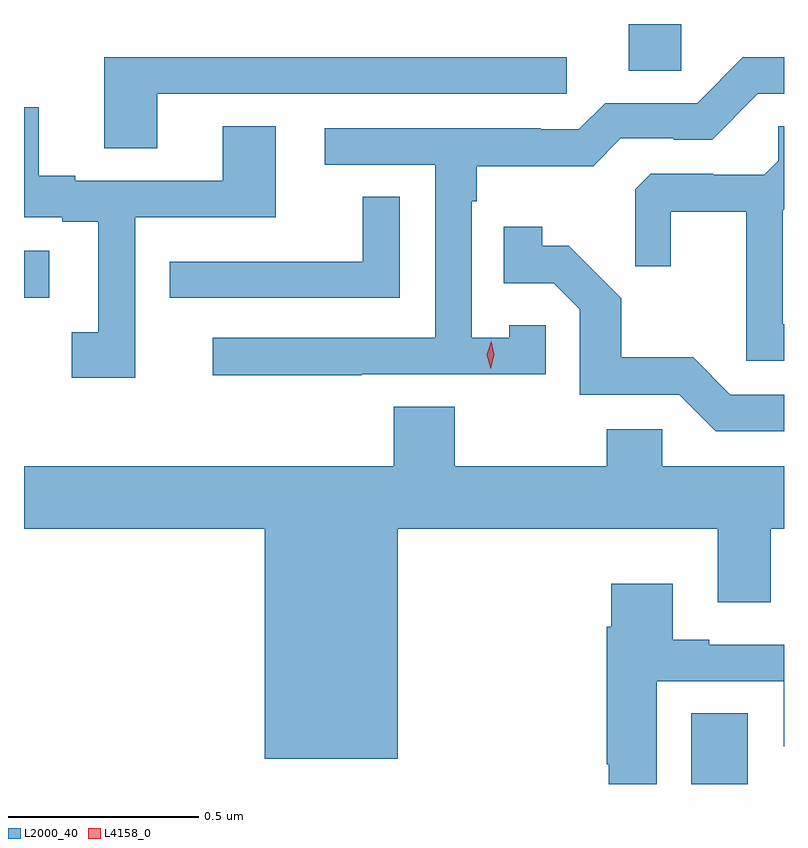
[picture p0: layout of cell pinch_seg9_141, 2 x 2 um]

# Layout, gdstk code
import gdstk
lib = gdstk.Library(unit=1e-6, precision=1e-09)
def R(c, l, rs):  # rectangles x0, y0, x1, y1
    for r in rs: c.add(gdstk.rectangle(r[:2], r[2:], *l))
def P(c, l, *ps):  # polygons
    for p in ps: c.add(gdstk.Polygon(p, *l))
L2000_40 = (2000, 40)
L4158_0 = (4158, 0)

pinch_seg9_141 = lib.new_cell('pinch_seg9_141')
R(pinch_seg9_141, L2000_40, [(677.96,1242.368,678.109,1242.554), (676.204,1243.647,676.27,1243.771), (677.795,1244.245,677.934,1244.368)])
P(pinch_seg9_141, L2000_40, [(676.555,1244.184),(677.632,1244.184),(677.632,1244.28),(676.415,1244.28),(676.415,1244.041),(676.555,1244.041)],
  [(677.093,1243.446),(677.577,1243.446),(677.577,1243.575),(677.481,1243.575),(677.481,1243.543),(677.382,1243.543),(677.382,1243.901),(677.395,1243.901),(677.395,1243.994),(677.702,1243.994),(677.775,1244.067),(677.914,1244.067),(677.914,1244.064),(678.015,1244.064),(678.135,1244.184),(678.204,1244.184),(678.204,1244.28),(678.096,1244.28),(677.976,1244.16),(677.733,1244.16),(677.664,1244.091),(677.564,1244.091),(677.564,1244.094),(676.995,1244.094),(676.995,1243.998),(677.286,1243.998),(677.286,1243.542),(676.701,1243.542),(676.701,1243.444),(677.093,1243.444)],
  [(676.497,1243.86),(676.867,1243.86),(676.867,1244.099),(676.727,1244.099),(676.727,1243.956),(676.339,1243.956),(676.339,1243.969),(676.243,1243.969),(676.243,1244.149),(676.204,1244.149),(676.204,1243.86),(676.304,1243.86),(676.304,1243.848),(676.4,1243.848),(676.4,1243.557),(676.329,1243.557),(676.329,1243.437),(676.497,1243.437)],
  [(678.204,1243.578),(678.201,1243.578),(678.201,1243.877),(678.204,1243.88),(678.204,1244.099),(678.189,1244.099),(678.189,1244.008),(678.152,1243.971),(678.018,1243.971),(678.018,1243.974),(677.853,1243.974),(677.812,1243.933),(677.812,1243.731),(677.906,1243.731),(677.906,1243.874),(678.104,1243.874),(678.104,1243.482),(678.204,1243.482)],
  [(677.193,1243.913),(677.095,1243.913),(677.095,1243.743),(676.699,1243.743),(676.699,1243.742),(676.587,1243.742),(676.587,1243.647),(677.193,1243.647)],
  [(678.204,1243.392),(678.063,1243.392),(677.965,1243.491),(677.776,1243.491),(677.776,1243.646),(677.638,1243.784),(677.568,1243.784),(677.568,1243.834),(677.467,1243.834),(677.467,1243.686),(677.598,1243.686),(677.667,1243.617),(677.667,1243.392),(677.928,1243.392),(678.024,1243.296),(678.204,1243.296)],
  [(677.188,1243.04),(678.029,1243.04),(678.029,1242.846),(678.169,1242.846),(678.169,1243.04),(678.204,1243.04),(678.204,1243.204),(677.883,1243.204),(677.883,1243.302),(677.737,1243.302),(677.737,1243.204),(677.337,1243.204),(677.337,1243.361),(677.177,1243.361),(677.177,1243.204),(676.204,1243.204),(676.204,1243.04),(676.838,1243.04),(676.838,1242.434),(677.188,1242.434)],
  [(677.869,1242.639),(678.203,1242.639),(678.203,1242.468),(678.204,1242.468),(678.204,1242.735),(678.007,1242.735),(678.007,1242.748),(677.911,1242.748),(677.911,1242.895),(677.75,1242.895),(677.75,1242.782),(677.738,1242.782),(677.738,1242.42),(677.743,1242.42),(677.743,1242.368),(677.869,1242.368)])
P(pinch_seg9_141, L4158_0, [(677.432,1243.461),(677.432,1243.461),(677.422,1243.498),(677.433,1243.533),(677.433,1243.533),(677.433,1243.533),(677.442,1243.497),(677.432,1243.461)])

lib.write_gds('pinch_seg9_141.gds')
